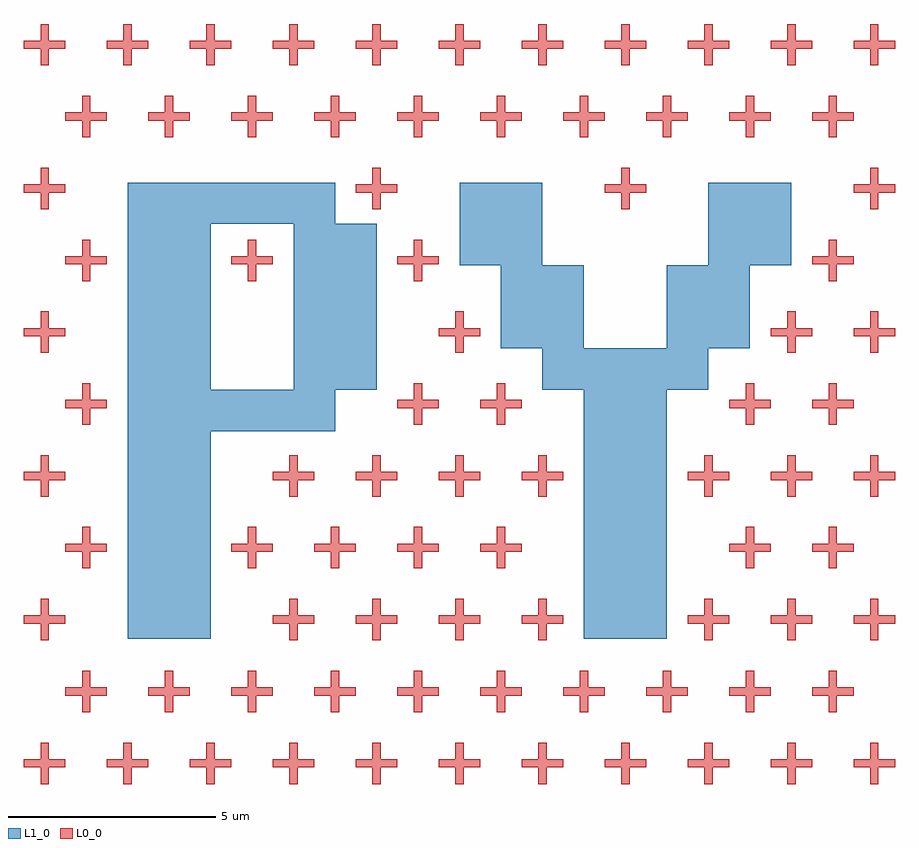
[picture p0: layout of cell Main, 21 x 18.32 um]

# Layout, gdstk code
import gdstk
lib = gdstk.Library(unit=1e-6, precision=1e-09)
def P(c, l, *ps):  # polygons
    for p in ps: c.add(gdstk.Polygon(p, *l))
L0_0 = (0, 0)
L1_0 = (1, 0)

main = lib.new_cell('Main')
P(main, L0_0, [(0.5,0.1),(0.1,0.1),(0.1,0.5),(-0.1,0.5),(-0.1,0.1),(-0.5,0.1),(-0.5,-0.1),(-0.1,-0.1),(-0.1,-0.5),(0.1,-0.5),(0.1,-0.1),(0.5,-0.1)],
  [(0.5,3.564),(0.1,3.564),(0.1,3.964),(-0.1,3.964),(-0.1,3.564),(-0.5,3.564),(-0.5,3.364),(-0.1,3.364),(-0.1,2.964),(0.1,2.964),(0.1,3.364),(0.5,3.364)],
  [(0.5,7.028),(0.1,7.028),(0.1,7.428),(-0.1,7.428),(-0.1,7.028),(-0.5,7.028),(-0.5,6.828),(-0.1,6.828),(-0.1,6.428),(0.1,6.428),(0.1,6.828),(0.5,6.828)],
  [(0.5,10.492),(0.1,10.492),(0.1,10.892),(-0.1,10.892),(-0.1,10.492),(-0.5,10.492),(-0.5,10.292),(-0.1,10.292),(-0.1,9.892),(0.1,9.892),(0.1,10.292),(0.5,10.292)],
  [(0.5,13.956),(0.1,13.956),(0.1,14.356),(-0.1,14.356),(-0.1,13.956),(-0.5,13.956),(-0.5,13.756),(-0.1,13.756),(-0.1,13.356),(0.1,13.356),(0.1,13.756),(0.5,13.756)],
  [(0.5,17.421),(0.1,17.421),(0.1,17.821),(-0.1,17.821),(-0.1,17.421),(-0.5,17.421),(-0.5,17.221),(-0.1,17.221),(-0.1,16.821),(0.1,16.821),(0.1,17.221),(0.5,17.221)],
  [(2.5,0.1),(2.1,0.1),(2.1,0.5),(1.9,0.5),(1.9,0.1),(1.5,0.1),(1.5,-0.1),(1.9,-0.1),(1.9,-0.5),(2.1,-0.5),(2.1,-0.1),(2.5,-0.1)],
  [(2.5,17.421),(2.1,17.421),(2.1,17.821),(1.9,17.821),(1.9,17.421),(1.5,17.421),(1.5,17.221),(1.9,17.221),(1.9,16.821),(2.1,16.821),(2.1,17.221),(2.5,17.221)],
  [(4.5,0.1),(4.1,0.1),(4.1,0.5),(3.9,0.5),(3.9,0.1),(3.5,0.1),(3.5,-0.1),(3.9,-0.1),(3.9,-0.5),(4.1,-0.5),(4.1,-0.1),(4.5,-0.1)],
  [(4.5,17.421),(4.1,17.421),(4.1,17.821),(3.9,17.821),(3.9,17.421),(3.5,17.421),(3.5,17.221),(3.9,17.221),(3.9,16.821),(4.1,16.821),(4.1,17.221),(4.5,17.221)],
  [(6.5,0.1),(6.1,0.1),(6.1,0.5),(5.9,0.5),(5.9,0.1),(5.5,0.1),(5.5,-0.1),(5.9,-0.1),(5.9,-0.5),(6.1,-0.5),(6.1,-0.1),(6.5,-0.1)],
  [(6.5,3.564),(6.1,3.564),(6.1,3.964),(5.9,3.964),(5.9,3.564),(5.5,3.564),(5.5,3.364),(5.9,3.364),(5.9,2.964),(6.1,2.964),(6.1,3.364),(6.5,3.364)],
  [(6.5,7.028),(6.1,7.028),(6.1,7.428),(5.9,7.428),(5.9,7.028),(5.5,7.028),(5.5,6.828),(5.9,6.828),(5.9,6.428),(6.1,6.428),(6.1,6.828),(6.5,6.828)],
  [(6.5,17.421),(6.1,17.421),(6.1,17.821),(5.9,17.821),(5.9,17.421),(5.5,17.421),(5.5,17.221),(5.9,17.221),(5.9,16.821),(6.1,16.821),(6.1,17.221),(6.5,17.221)],
  [(8.5,0.1),(8.1,0.1),(8.1,0.5),(7.9,0.5),(7.9,0.1),(7.5,0.1),(7.5,-0.1),(7.9,-0.1),(7.9,-0.5),(8.1,-0.5),(8.1,-0.1),(8.5,-0.1)],
  [(8.5,3.564),(8.1,3.564),(8.1,3.964),(7.9,3.964),(7.9,3.564),(7.5,3.564),(7.5,3.364),(7.9,3.364),(7.9,2.964),(8.1,2.964),(8.1,3.364),(8.5,3.364)],
  [(8.5,7.028),(8.1,7.028),(8.1,7.428),(7.9,7.428),(7.9,7.028),(7.5,7.028),(7.5,6.828),(7.9,6.828),(7.9,6.428),(8.1,6.428),(8.1,6.828),(8.5,6.828)],
  [(8.5,13.956),(8.1,13.956),(8.1,14.356),(7.9,14.356),(7.9,13.956),(7.5,13.956),(7.5,13.756),(7.9,13.756),(7.9,13.356),(8.1,13.356),(8.1,13.756),(8.5,13.756)],
  [(8.5,17.421),(8.1,17.421),(8.1,17.821),(7.9,17.821),(7.9,17.421),(7.5,17.421),(7.5,17.221),(7.9,17.221),(7.9,16.821),(8.1,16.821),(8.1,17.221),(8.5,17.221)],
  [(10.5,0.1),(10.1,0.1),(10.1,0.5),(9.9,0.5),(9.9,0.1),(9.5,0.1),(9.5,-0.1),(9.9,-0.1),(9.9,-0.5),(10.1,-0.5),(10.1,-0.1),(10.5,-0.1)],
  [(10.5,3.564),(10.1,3.564),(10.1,3.964),(9.9,3.964),(9.9,3.564),(9.5,3.564),(9.5,3.364),(9.9,3.364),(9.9,2.964),(10.1,2.964),(10.1,3.364),(10.5,3.364)],
  [(10.5,7.028),(10.1,7.028),(10.1,7.428),(9.9,7.428),(9.9,7.028),(9.5,7.028),(9.5,6.828),(9.9,6.828),(9.9,6.428),(10.1,6.428),(10.1,6.828),(10.5,6.828)],
  [(10.5,10.492),(10.1,10.492),(10.1,10.892),(9.9,10.892),(9.9,10.492),(9.5,10.492),(9.5,10.292),(9.9,10.292),(9.9,9.892),(10.1,9.892),(10.1,10.292),(10.5,10.292)],
  [(10.5,17.421),(10.1,17.421),(10.1,17.821),(9.9,17.821),(9.9,17.421),(9.5,17.421),(9.5,17.221),(9.9,17.221),(9.9,16.821),(10.1,16.821),(10.1,17.221),(10.5,17.221)],
  [(12.5,0.1),(12.1,0.1),(12.1,0.5),(11.9,0.5),(11.9,0.1),(11.5,0.1),(11.5,-0.1),(11.9,-0.1),(11.9,-0.5),(12.1,-0.5),(12.1,-0.1),(12.5,-0.1)],
  [(12.5,3.564),(12.1,3.564),(12.1,3.964),(11.9,3.964),(11.9,3.564),(11.5,3.564),(11.5,3.364),(11.9,3.364),(11.9,2.964),(12.1,2.964),(12.1,3.364),(12.5,3.364)],
  [(12.5,7.028),(12.1,7.028),(12.1,7.428),(11.9,7.428),(11.9,7.028),(11.5,7.028),(11.5,6.828),(11.9,6.828),(11.9,6.428),(12.1,6.428),(12.1,6.828),(12.5,6.828)],
  [(12.5,17.421),(12.1,17.421),(12.1,17.821),(11.9,17.821),(11.9,17.421),(11.5,17.421),(11.5,17.221),(11.9,17.221),(11.9,16.821),(12.1,16.821),(12.1,17.221),(12.5,17.221)],
  [(14.5,0.1),(14.1,0.1),(14.1,0.5),(13.9,0.5),(13.9,0.1),(13.5,0.1),(13.5,-0.1),(13.9,-0.1),(13.9,-0.5),(14.1,-0.5),(14.1,-0.1),(14.5,-0.1)],
  [(14.5,13.956),(14.1,13.956),(14.1,14.356),(13.9,14.356),(13.9,13.956),(13.5,13.956),(13.5,13.756),(13.9,13.756),(13.9,13.356),(14.1,13.356),(14.1,13.756),(14.5,13.756)],
  [(14.5,17.421),(14.1,17.421),(14.1,17.821),(13.9,17.821),(13.9,17.421),(13.5,17.421),(13.5,17.221),(13.9,17.221),(13.9,16.821),(14.1,16.821),(14.1,17.221),(14.5,17.221)],
  [(16.5,0.1),(16.1,0.1),(16.1,0.5),(15.9,0.5),(15.9,0.1),(15.5,0.1),(15.5,-0.1),(15.9,-0.1),(15.9,-0.5),(16.1,-0.5),(16.1,-0.1),(16.5,-0.1)],
  [(16.5,3.564),(16.1,3.564),(16.1,3.964),(15.9,3.964),(15.9,3.564),(15.5,3.564),(15.5,3.364),(15.9,3.364),(15.9,2.964),(16.1,2.964),(16.1,3.364),(16.5,3.364)],
  [(16.5,7.028),(16.1,7.028),(16.1,7.428),(15.9,7.428),(15.9,7.028),(15.5,7.028),(15.5,6.828),(15.9,6.828),(15.9,6.428),(16.1,6.428),(16.1,6.828),(16.5,6.828)],
  [(16.5,17.421),(16.1,17.421),(16.1,17.821),(15.9,17.821),(15.9,17.421),(15.5,17.421),(15.5,17.221),(15.9,17.221),(15.9,16.821),(16.1,16.821),(16.1,17.221),(16.5,17.221)],
  [(18.5,0.1),(18.1,0.1),(18.1,0.5),(17.9,0.5),(17.9,0.1),(17.5,0.1),(17.5,-0.1),(17.9,-0.1),(17.9,-0.5),(18.1,-0.5),(18.1,-0.1),(18.5,-0.1)],
  [(18.5,3.564),(18.1,3.564),(18.1,3.964),(17.9,3.964),(17.9,3.564),(17.5,3.564),(17.5,3.364),(17.9,3.364),(17.9,2.964),(18.1,2.964),(18.1,3.364),(18.5,3.364)],
  [(18.5,7.028),(18.1,7.028),(18.1,7.428),(17.9,7.428),(17.9,7.028),(17.5,7.028),(17.5,6.828),(17.9,6.828),(17.9,6.428),(18.1,6.428),(18.1,6.828),(18.5,6.828)],
  [(18.5,10.492),(18.1,10.492),(18.1,10.892),(17.9,10.892),(17.9,10.492),(17.5,10.492),(17.5,10.292),(17.9,10.292),(17.9,9.892),(18.1,9.892),(18.1,10.292),(18.5,10.292)],
  [(18.5,17.421),(18.1,17.421),(18.1,17.821),(17.9,17.821),(17.9,17.421),(17.5,17.421),(17.5,17.221),(17.9,17.221),(17.9,16.821),(18.1,16.821),(18.1,17.221),(18.5,17.221)],
  [(20.5,0.1),(20.1,0.1),(20.1,0.5),(19.9,0.5),(19.9,0.1),(19.5,0.1),(19.5,-0.1),(19.9,-0.1),(19.9,-0.5),(20.1,-0.5),(20.1,-0.1),(20.5,-0.1)],
  [(20.5,3.564),(20.1,3.564),(20.1,3.964),(19.9,3.964),(19.9,3.564),(19.5,3.564),(19.5,3.364),(19.9,3.364),(19.9,2.964),(20.1,2.964),(20.1,3.364),(20.5,3.364)],
  [(20.5,7.028),(20.1,7.028),(20.1,7.428),(19.9,7.428),(19.9,7.028),(19.5,7.028),(19.5,6.828),(19.9,6.828),(19.9,6.428),(20.1,6.428),(20.1,6.828),(20.5,6.828)],
  [(20.5,10.492),(20.1,10.492),(20.1,10.892),(19.9,10.892),(19.9,10.492),(19.5,10.492),(19.5,10.292),(19.9,10.292),(19.9,9.892),(20.1,9.892),(20.1,10.292),(20.5,10.292)],
  [(20.5,13.956),(20.1,13.956),(20.1,14.356),(19.9,14.356),(19.9,13.956),(19.5,13.956),(19.5,13.756),(19.9,13.756),(19.9,13.356),(20.1,13.356),(20.1,13.756),(20.5,13.756)],
  [(20.5,17.421),(20.1,17.421),(20.1,17.821),(19.9,17.821),(19.9,17.421),(19.5,17.421),(19.5,17.221),(19.9,17.221),(19.9,16.821),(20.1,16.821),(20.1,17.221),(20.5,17.221)],
  [(1.5,1.832),(1.1,1.832),(1.1,2.232),(0.9,2.232),(0.9,1.832),(0.5,1.832),(0.5,1.632),(0.9,1.632),(0.9,1.232),(1.1,1.232),(1.1,1.632),(1.5,1.632)],
  [(1.5,5.296),(1.1,5.296),(1.1,5.696),(0.9,5.696),(0.9,5.296),(0.5,5.296),(0.5,5.096),(0.9,5.096),(0.9,4.696),(1.1,4.696),(1.1,5.096),(1.5,5.096)],
  [(1.5,8.76),(1.1,8.76),(1.1,9.16),(0.9,9.16),(0.9,8.76),(0.5,8.76),(0.5,8.56),(0.9,8.56),(0.9,8.16),(1.1,8.16),(1.1,8.56),(1.5,8.56)],
  [(1.5,12.224),(1.1,12.224),(1.1,12.624),(0.9,12.624),(0.9,12.224),(0.5,12.224),(0.5,12.024),(0.9,12.024),(0.9,11.624),(1.1,11.624),(1.1,12.024),(1.5,12.024)],
  [(1.5,15.688),(1.1,15.688),(1.1,16.088),(0.9,16.088),(0.9,15.688),(0.5,15.688),(0.5,15.488),(0.9,15.488),(0.9,15.088),(1.1,15.088),(1.1,15.488),(1.5,15.488)],
  [(3.5,1.832),(3.1,1.832),(3.1,2.232),(2.9,2.232),(2.9,1.832),(2.5,1.832),(2.5,1.632),(2.9,1.632),(2.9,1.232),(3.1,1.232),(3.1,1.632),(3.5,1.632)],
  [(3.5,15.688),(3.1,15.688),(3.1,16.088),(2.9,16.088),(2.9,15.688),(2.5,15.688),(2.5,15.488),(2.9,15.488),(2.9,15.088),(3.1,15.088),(3.1,15.488),(3.5,15.488)],
  [(5.5,1.832),(5.1,1.832),(5.1,2.232),(4.9,2.232),(4.9,1.832),(4.5,1.832),(4.5,1.632),(4.9,1.632),(4.9,1.232),(5.1,1.232),(5.1,1.632),(5.5,1.632)],
  [(5.5,5.296),(5.1,5.296),(5.1,5.696),(4.9,5.696),(4.9,5.296),(4.5,5.296),(4.5,5.096),(4.9,5.096),(4.9,4.696),(5.1,4.696),(5.1,5.096),(5.5,5.096)],
  [(5.5,12.224),(5.1,12.224),(5.1,12.624),(4.9,12.624),(4.9,12.224),(4.5,12.224),(4.5,12.024),(4.9,12.024),(4.9,11.624),(5.1,11.624),(5.1,12.024),(5.5,12.024)],
  [(5.5,15.688),(5.1,15.688),(5.1,16.088),(4.9,16.088),(4.9,15.688),(4.5,15.688),(4.5,15.488),(4.9,15.488),(4.9,15.088),(5.1,15.088),(5.1,15.488),(5.5,15.488)],
  [(7.5,1.832),(7.1,1.832),(7.1,2.232),(6.9,2.232),(6.9,1.832),(6.5,1.832),(6.5,1.632),(6.9,1.632),(6.9,1.232),(7.1,1.232),(7.1,1.632),(7.5,1.632)],
  [(7.5,5.296),(7.1,5.296),(7.1,5.696),(6.9,5.696),(6.9,5.296),(6.5,5.296),(6.5,5.096),(6.9,5.096),(6.9,4.696),(7.1,4.696),(7.1,5.096),(7.5,5.096)],
  [(7.5,15.688),(7.1,15.688),(7.1,16.088),(6.9,16.088),(6.9,15.688),(6.5,15.688),(6.5,15.488),(6.9,15.488),(6.9,15.088),(7.1,15.088),(7.1,15.488),(7.5,15.488)],
  [(9.5,1.832),(9.1,1.832),(9.1,2.232),(8.9,2.232),(8.9,1.832),(8.5,1.832),(8.5,1.632),(8.9,1.632),(8.9,1.232),(9.1,1.232),(9.1,1.632),(9.5,1.632)],
  [(9.5,5.296),(9.1,5.296),(9.1,5.696),(8.9,5.696),(8.9,5.296),(8.5,5.296),(8.5,5.096),(8.9,5.096),(8.9,4.696),(9.1,4.696),(9.1,5.096),(9.5,5.096)],
  [(9.5,8.76),(9.1,8.76),(9.1,9.16),(8.9,9.16),(8.9,8.76),(8.5,8.76),(8.5,8.56),(8.9,8.56),(8.9,8.16),(9.1,8.16),(9.1,8.56),(9.5,8.56)],
  [(9.5,12.224),(9.1,12.224),(9.1,12.624),(8.9,12.624),(8.9,12.224),(8.5,12.224),(8.5,12.024),(8.9,12.024),(8.9,11.624),(9.1,11.624),(9.1,12.024),(9.5,12.024)],
  [(9.5,15.688),(9.1,15.688),(9.1,16.088),(8.9,16.088),(8.9,15.688),(8.5,15.688),(8.5,15.488),(8.9,15.488),(8.9,15.088),(9.1,15.088),(9.1,15.488),(9.5,15.488)],
  [(11.5,1.832),(11.1,1.832),(11.1,2.232),(10.9,2.232),(10.9,1.832),(10.5,1.832),(10.5,1.632),(10.9,1.632),(10.9,1.232),(11.1,1.232),(11.1,1.632),(11.5,1.632)],
  [(11.5,5.296),(11.1,5.296),(11.1,5.696),(10.9,5.696),(10.9,5.296),(10.5,5.296),(10.5,5.096),(10.9,5.096),(10.9,4.696),(11.1,4.696),(11.1,5.096),(11.5,5.096)],
  [(11.5,8.76),(11.1,8.76),(11.1,9.16),(10.9,9.16),(10.9,8.76),(10.5,8.76),(10.5,8.56),(10.9,8.56),(10.9,8.16),(11.1,8.16),(11.1,8.56),(11.5,8.56)],
  [(11.5,15.688),(11.1,15.688),(11.1,16.088),(10.9,16.088),(10.9,15.688),(10.5,15.688),(10.5,15.488),(10.9,15.488),(10.9,15.088),(11.1,15.088),(11.1,15.488),(11.5,15.488)],
  [(13.5,1.832),(13.1,1.832),(13.1,2.232),(12.9,2.232),(12.9,1.832),(12.5,1.832),(12.5,1.632),(12.9,1.632),(12.9,1.232),(13.1,1.232),(13.1,1.632),(13.5,1.632)],
  [(13.5,15.688),(13.1,15.688),(13.1,16.088),(12.9,16.088),(12.9,15.688),(12.5,15.688),(12.5,15.488),(12.9,15.488),(12.9,15.088),(13.1,15.088),(13.1,15.488),(13.5,15.488)],
  [(15.5,1.832),(15.1,1.832),(15.1,2.232),(14.9,2.232),(14.9,1.832),(14.5,1.832),(14.5,1.632),(14.9,1.632),(14.9,1.232),(15.1,1.232),(15.1,1.632),(15.5,1.632)],
  [(15.5,15.688),(15.1,15.688),(15.1,16.088),(14.9,16.088),(14.9,15.688),(14.5,15.688),(14.5,15.488),(14.9,15.488),(14.9,15.088),(15.1,15.088),(15.1,15.488),(15.5,15.488)],
  [(17.5,1.832),(17.1,1.832),(17.1,2.232),(16.9,2.232),(16.9,1.832),(16.5,1.832),(16.5,1.632),(16.9,1.632),(16.9,1.232),(17.1,1.232),(17.1,1.632),(17.5,1.632)],
  [(17.5,5.296),(17.1,5.296),(17.1,5.696),(16.9,5.696),(16.9,5.296),(16.5,5.296),(16.5,5.096),(16.9,5.096),(16.9,4.696),(17.1,4.696),(17.1,5.096),(17.5,5.096)],
  [(17.5,8.76),(17.1,8.76),(17.1,9.16),(16.9,9.16),(16.9,8.76),(16.5,8.76),(16.5,8.56),(16.9,8.56),(16.9,8.16),(17.1,8.16),(17.1,8.56),(17.5,8.56)],
  [(17.5,15.688),(17.1,15.688),(17.1,16.088),(16.9,16.088),(16.9,15.688),(16.5,15.688),(16.5,15.488),(16.9,15.488),(16.9,15.088),(17.1,15.088),(17.1,15.488),(17.5,15.488)],
  [(19.5,1.832),(19.1,1.832),(19.1,2.232),(18.9,2.232),(18.9,1.832),(18.5,1.832),(18.5,1.632),(18.9,1.632),(18.9,1.232),(19.1,1.232),(19.1,1.632),(19.5,1.632)],
  [(19.5,5.296),(19.1,5.296),(19.1,5.696),(18.9,5.696),(18.9,5.296),(18.5,5.296),(18.5,5.096),(18.9,5.096),(18.9,4.696),(19.1,4.696),(19.1,5.096),(19.5,5.096)],
  [(19.5,8.76),(19.1,8.76),(19.1,9.16),(18.9,9.16),(18.9,8.76),(18.5,8.76),(18.5,8.56),(18.9,8.56),(18.9,8.16),(19.1,8.16),(19.1,8.56),(19.5,8.56)],
  [(19.5,12.224),(19.1,12.224),(19.1,12.624),(18.9,12.624),(18.9,12.224),(18.5,12.224),(18.5,12.024),(18.9,12.024),(18.9,11.624),(19.1,11.624),(19.1,12.024),(19.5,12.024)],
  [(19.5,15.688),(19.1,15.688),(19.1,16.088),(18.9,16.088),(18.9,15.688),(18.5,15.688),(18.5,15.488),(18.9,15.488),(18.9,15.088),(19.1,15.088),(19.1,15.488),(19.5,15.488)])
P(main, L1_0, [(4,3),(4,8),(7,8),(7,9),(8,9),(8,13),(7,13),(7,14),(2,14),(2,9),(4,9),(4,13),(6,13),(6,9),(4,9),(2,9),(2,3)],
  [(11,12),(11,10),(12,10),(12,9),(13,9),(13,3),(15,3),(15,9),(16,9),(16,10),(17,10),(17,12),(18,12),(18,14),(16,14),(16,12),(15,12),(15,10),(13,10),(13,12),(12,12),(12,14),(10,14),(10,12)])

lib.write_gds('Main.gds')
